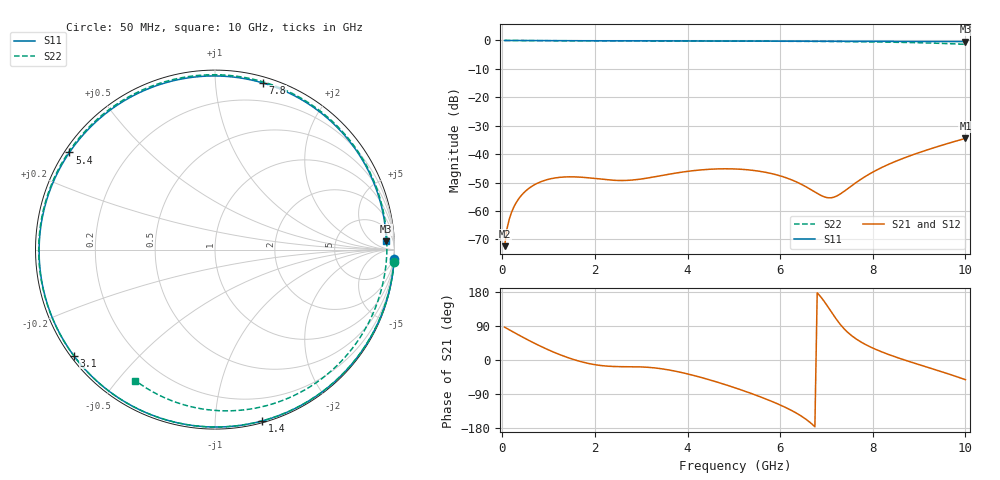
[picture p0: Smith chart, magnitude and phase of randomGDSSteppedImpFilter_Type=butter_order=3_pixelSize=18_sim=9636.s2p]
! freq	dB(S11)	phase(S11)	dB(S12)	phase(S12)
!  dB(S21)	phase(S21)	dB(S22)	phase(S22)
!S-par simulation data
#  GHz  S  DB  R 50
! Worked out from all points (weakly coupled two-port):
!   200 points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, 50 MHz to 10 GHz, reference 50 ohm
!   highest |S21| = -34.48 dB at 10 GHz (marker M1); lowest = -72.4 dB at 50 MHz (marker M2)
!   lowest |S11| = -0.4 dB at 10 GHz (marker M3), VSWR 43.70, Z = 1.02e+03 + j1.09e+03 ohm
!   |S11| at or under -10 dB: nowhere
!   |S22| runs from -1.4 to 0.0 dB; largest |S21 - S12| = 0
!   S11 on the Smith chart (normalised r, x): 50 MHz: 0, -40; 1.4 GHz: 0.01, -1.31; 3.1 GHz: 0.01, -0.33; 5.4 GHz: 0.01, +0.30; 7.8 GHz: 0.05, +1.33; 10 GHz: 20, +22
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0.05  -0.00 -2.9  -72.40 86.6  -72.40 86.6  -0.00 -4.1
0.1  -0.01 -5.7  -66.40 83.1  -66.40 83.1  -0.01 -8.1
0.2  -0.02 -11.4  -60.46 76.3  -60.46 76.3  -0.02 -16.1
0.45  -0.04 -25.3  -53.84 59.7  -53.84 59.7  -0.05 -35.8
0.9  -0.06 -49.6  -49.32 32.1  -49.32 32.1  -0.08 -69.3
1.4  -0.09 -74.6  -48.01 7.0  -48.01 7.0  -0.11 -102.6
1.75  -0.10 -90.7  -48.18 -6.0  -48.18 -6.0  -0.12 -123.5
2.4  -0.12 -117.6  -49.20 -17.1  -49.20 -17.1  -0.14 -157.9
3.1  -0.14 -143.1  -48.52 -18.9  -48.52 -18.9  -0.16 169.2
3.4  -0.15 -153.2  -47.66 -22.5  -47.66 -22.5  -0.17 155.9
4.25  -0.18 -179.8  -45.62 -44.6  -45.62 -44.6  -0.20 119.3
5.05  -0.21 156.5  -45.25 -74.4  -45.25 -74.4  -0.23 85.5
5.4  -0.22 146.3  -45.69 -89.4  -45.69 -89.4  -0.25 70.8
6.1  -0.25 125.8  -48.17 -124.3  -48.17 -124.3  -0.29 41.4
6.7  -0.27 107.9  -52.85 -170.5  -52.85 -170.5  -0.33 16.5
6.95  -0.28 100.3  -55.02 154.8  -55.02 154.8  -0.36 6.3
7.15  -0.28 94.2  -55.21 118.8  -55.21 118.8  -0.38 -1.8
7.8  -0.30 74.0  -48.26 43.7  -48.26 43.7  -0.47 -27.8
8.35  -0.32 56.4  -43.54 14.2  -43.54 14.2  -0.59 -49.5
9.2  -0.35 28.8  -38.38 -19.9  -38.38 -19.9  -0.89 -84.1
9.6  -0.37 15.8  -36.35 -35.4  -36.35 -35.4  -1.10 -101.7
10  -0.40 2.8  -34.48 -52.0  -34.48 -52.0  -1.37 -121.3
